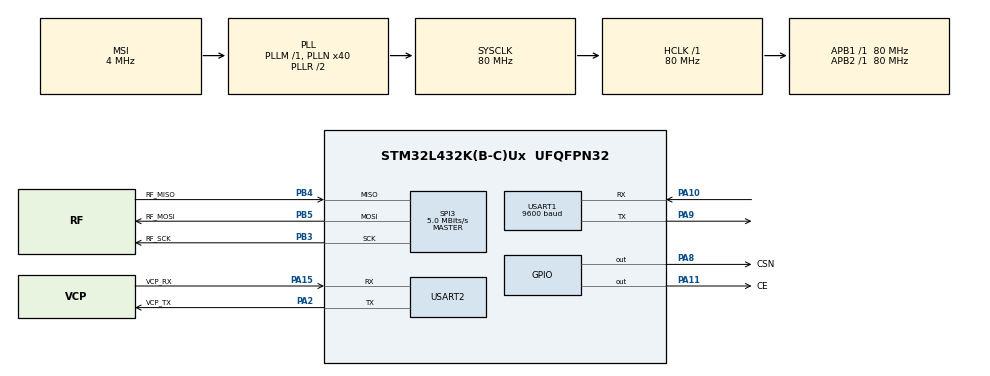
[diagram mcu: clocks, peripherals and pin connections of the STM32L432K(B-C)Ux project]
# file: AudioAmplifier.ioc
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Mcu.Family=STM32L4
Mcu.Name=STM32L432K(B-C)Ux
Mcu.Package=UFQFPN32
NVIC.PriorityGroup=NVIC_PRIORITYGROUP_4
PA0.GPIO_Label=MCO [High speed clock in]
PA0.Mode=HSE-External-Clock-Source-for-LittleOrca
PA0.Signal=RCC_CK_IN
PA10.Mode=Asynchronous
PA10.Signal=USART1_RX
PA11.GPIO_Label=CE
PA11.Signal=GPIO_Output
PA13\ (JTMS-SWDIO).GPIO_Label=SWDIO
PA13\ (JTMS-SWDIO).Mode=Serial_Wire
PA13\ (JTMS-SWDIO).Signal=SYS_JTMS-SWDIO
PA14\ (JTCK-SWCLK).GPIO_Label=SWCLK
PA14\ (JTCK-SWCLK).Mode=Serial_Wire
PA14\ (JTCK-SWCLK).Signal=SYS_JTCK-SWCLK
PA15\ (JTDI).GPIO_Label=VCP_RX
PA15\ (JTDI).Mode=Asynchronous
PA15\ (JTDI).Signal=USART2_RX
PA2.GPIO_Label=VCP_TX
PA2.Mode=Asynchronous
PA2.Signal=USART2_TX
PA8.GPIO_Label=CSN
PA8.Signal=GPIO_Output
PA9.Mode=Asynchronous
PA9.Signal=USART1_TX
PB3\ (JTDO-TRACESWO).GPIO_Label=RF_SCK
PB3\ (JTDO-TRACESWO).Mode=Full_Duplex_Master
PB3\ (JTDO-TRACESWO).Signal=SPI3_SCK
PB4\ (NJTRST).GPIO_Label=RF_MISO
PB4\ (NJTRST).Mode=Full_Duplex_Master
PB4\ (NJTRST).Signal=SPI3_MISO
PB5.GPIO_Label=RF_MOSI
PB5.Mode=Full_Duplex_Master
PB5.Signal=SPI3_MOSI
PC14-OSC32_IN\ (PC14).Mode=LSE-External-Oscillator
PC14-OSC32_IN\ (PC14).Signal=RCC_OSC32_IN
PC15-OSC32_OUT\ (PC15).Mode=LSE-External-Oscillator
PC15-OSC32_OUT\ (PC15).Signal=RCC_OSC32_OUT
ProjectManager.HeapSize=0x200
ProjectManager.StackSize=0x400
ProjectManager.TargetToolchain=STM32CubeIDE
RCC.AHBFreq_Value=80000000
RCC.APB1Freq_Value=80000000
RCC.APB1TimFreq_Value=80000000
RCC.APB2Freq_Value=80000000
RCC.APB2TimFreq_Value=80000000
RCC.CortexFreq_Value=80000000
RCC.HCLKFreq_Value=80000000
RCC.HSE_VALUE=8000000
RCC.HSI16_VALUE=16000000
RCC.HSI48_VALUE=48000000
RCC.HSI_VALUE=16000000
RCC.MSI_VALUE=4000000
RCC.PLLMUL=RCC_PLLMUL_4
RCC.PLLN=40
RCC.SYSCLKFreq_VALUE=80000000
RCC.SYSCLKSource=RCC_SYSCLKSOURCE_PLLCLK
RCC.VCOOutputFreq_Value=160000000
SPI3.BaudRatePrescaler=SPI_BAUDRATEPRESCALER_16
SPI3.CalculateBaudRate=5.0 MBits/s
SPI3.DataSize=SPI_DATASIZE_8BIT
SPI3.Direction=SPI_DIRECTION_2LINES
SPI3.Mode=SPI_MODE_MASTER
SPI3.NSSPMode=SPI_NSS_PULSE_DISABLE
SPI3.VirtualType=VM_MASTER
USART1.BaudRate=9600
USART1.VirtualMode-Asynchronous=VM_ASYNC
USART2.VirtualMode-Asynchronous=VM_ASYNC
board=NUCLEO-L432KC

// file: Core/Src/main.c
/* USER CODE BEGIN Header */
/**
  ******************************************************************************
  * @file           : main.c
  * @brief          : Main program body
  ******************************************************************************
  * @attention
  *
  * Copyright (c) 2024 STMicroelectronics.
  * All rights reserved.
  *
  * This software is licensed under terms that can be found in the LICENSE file
  * in the root directory of this software component.
  * If no LICENSE file comes with this software, it is provided AS-IS.
  *
  ******************************************************************************
  */
/* USER CODE END Header */
#include "main.h"
#include "spi.h"
#include "usart.h"
#include "gpio.h"

/* USER CODE BEGIN Includes */
#include "nrf24.h"

#include "stdio.h"
#include "string.h"
/* USER CODE END Includes */

/* USER CODE BEGIN PV */
uint8_t rx_buffer[20]={0};
uint8_t tx_buffer[20]={0};

uint8_t radioInitSuccess = 0;

uint8_t bufRX[32] = {0}; // buffer for received data
uint8_t bufLenRX = 32; // variable to store a length of received payload
uint8_t pipeRX;

char UARTbuf[256];
uint8_t UARTbufLen = 5;

uint8_t txBuf[32] = {0}; // demo
uint8_t txSuccess = 10;

uint32_t c = 0;

union
{
	float f_val;
	uint8_t f_val_buffer[4];
}temp_buffer,press_buffer,dht_temp_buffer,dht_hum_buffer;

uint16_t ldr_voltage=0,raindrops_voltage=0;
/* USER CODE END PV */

void SystemClock_Config(void);
/* USER CODE BEGIN PFP */
void testRadio(void);
/* USER CODE END PFP */

/* USER CODE BEGIN 0 */
void radioSetup(void);
void receiveData(void);
/* USER CODE END 0 */

int main(void)
{

  /* MCU Configuration--------------------------------------------------------*/

  /* Reset of all peripherals, Initializes the Flash interface and the Systick. */
  HAL_Init();

  /* Configure the system clock */
  SystemClock_Config();

  /* Initialize all configured peripherals */
  MX_GPIO_Init();
  MX_USART2_UART_Init();
  MX_SPI3_Init();
  MX_USART1_UART_Init();
  /* USER CODE BEGIN 2 */
  nRF24_CE_L();
  radioInitSuccess = nRF24_Check();

  radioSetup();

  /* USER CODE END 2 */

  /* Infinite loop */
  /* USER CODE BEGIN WHILE */
  while (1)
  {
	  receiveData(); // also sends data via UART
	  //testRadio();

	  /*
	  UARTbuf[0] = '\0';
	  for(int i = 0; i < 32; i++) sprintf(UARTbuf + strlen(UARTbuf), "%u ", bufRX[i]); // Add all values of bufRX into a buffer to send data, eparated by whitespace
	  UARTbuf[255] =  '\r';

   	  HAL_UART_Transmit(&huart2, (uint8_t *)UARTbuf, 255, 100);
   	  */

	  HAL_UART_Receive(&huart1,rx_buffer,20,100);

	  HAL_UART_Transmit(&huart2,tx_buffer,20,100);

   	  HAL_Delay(1);

    /* USER CODE END WHILE */

  }
}

void SystemClock_Config(void)
{
  RCC_OscInitTypeDef RCC_OscInitStruct = {0};
  RCC_ClkInitTypeDef RCC_ClkInitStruct = {0};

  /** Configure the main internal regulator output voltage
  */
  if (HAL_PWREx_ControlVoltageScaling(PWR_REGULATOR_VOLTAGE_SCALE1) != HAL_OK)
  {
    Error_Handler();
  }

  /** Configure LSE Drive Capability
  */
  HAL_PWR_EnableBkUpAccess();
  __HAL_RCC_LSEDRIVE_CONFIG(RCC_LSEDRIVE_LOW);

  /** Initializes the RCC Oscillators according to the specified parameters
  * in the RCC_OscInitTypeDef structure.
  */
  RCC_OscInitStruct.OscillatorType = RCC_OSCILLATORTYPE_LSE|RCC_OSCILLATORTYPE_MSI;
  RCC_OscInitStruct.LSEState = RCC_LSE_ON;
  RCC_OscInitStruct.MSIState = RCC_MSI_ON;
  RCC_OscInitStruct.MSICalibrationValue = 0;
  RCC_OscInitStruct.MSIClockRange = RCC_MSIRANGE_6;
  RCC_OscInitStruct.PLL.PLLState = RCC_PLL_ON;
  RCC_OscInitStruct.PLL.PLLSource = RCC_PLLSOURCE_MSI;
  RCC_OscInitStruct.PLL.PLLM = 1;
  RCC_OscInitStruct.PLL.PLLN = 40;
  RCC_OscInitStruct.PLL.PLLP = RCC_PLLP_DIV7;
  RCC_OscInitStruct.PLL.PLLQ = RCC_PLLQ_DIV2;
  RCC_OscInitStruct.PLL.PLLR = RCC_PLLR_DIV2;
  if (HAL_RCC_OscConfig(&RCC_OscInitStruct) != HAL_OK)
  {
    Error_Handler();
  }

  /** Initializes the CPU, AHB and APB buses clocks
  */
  RCC_ClkInitStruct.ClockType = RCC_CLOCKTYPE_HCLK|RCC_CLOCKTYPE_SYSCLK
                              |RCC_CLOCKTYPE_PCLK1|RCC_CLOCKTYPE_PCLK2;
  RCC_ClkInitStruct.SYSCLKSource = RCC_SYSCLKSOURCE_PLLCLK;
  RCC_ClkInitStruct.AHBCLKDivider = RCC_SYSCLK_DIV1;
  RCC_ClkInitStruct.APB1CLKDivider = RCC_HCLK_DIV1;
  RCC_ClkInitStruct.APB2CLKDivider = RCC_HCLK_DIV1;

  if (HAL_RCC_ClockConfig(&RCC_ClkInitStruct, FLASH_LATENCY_4) != HAL_OK)
  {
    Error_Handler();
  }

  /** Enable MSI Auto calibration
  */
  HAL_RCCEx_EnableMSIPLLMode();
}

/* USER CODE BEGIN 4 */
void radioSetup(void){
	// Set RF channel
	nRF24_DisableAA(0xFF);

	    // Set RF channel
	    nRF24_SetRFChannel(115);

	    // Set data rate
	    nRF24_SetDataRate(nRF24_DR_250kbps);

	    // Set CRC scheme
	    nRF24_SetCRCScheme(nRF24_CRC_2byte);

	    // Set address width, its common for all pipes (RX and TX)
	    nRF24_SetAddrWidth(3);

	    // Configure RX PIPE#0
	    static const uint8_t nRF24_ADDR0[] = { 'W', 'B', 'C' };
	    nRF24_SetAddr(nRF24_PIPE0, nRF24_ADDR0); // program address for RX pipe #0
	    nRF24_SetRXPipe(nRF24_PIPE0, nRF24_AA_OFF, 11); // Auto-ACK: disabled, payload length: 11 bytes

	    // Configure RX PIPE#1
	    static const uint8_t nRF24_ADDR1[] = { 0xE7, 0x1C, 0xE3 };
	    nRF24_SetAddr(nRF24_PIPE1, nRF24_ADDR1); // program address for RX pipe #1
	    nRF24_SetRXPipe(nRF24_PIPE1, nRF24_AA_OFF, 5); // Auto-ACK: disabled, payload length: 5 bytes

	    // Configure RX PIPE#4
	    static const uint8_t nRF24_ADDR4[] = { 0xE6 };
	    nRF24_SetAddr(nRF24_PIPE4, nRF24_ADDR4); // program address for RX pipe #4
	    nRF24_SetRXPipe(nRF24_PIPE4, nRF24_AA_OFF, 32); // Auto-ACK: disabled, payload length: 32 bytes

	    // Set operational mode (PRX == receiver)
	    nRF24_SetOperationalMode(nRF24_MODE_RX);

	    // Wake the transceiver
	    nRF24_SetPowerMode(nRF24_PWR_UP);

	    // Put the transceiver to the RX mode
	    nRF24_CE_H();
}

void receiveData(void){
	if (!radioInitSuccess) return;

	if (nRF24_GetStatus_RXFIFO() != nRF24_STATUS_RXFIFO_EMPTY) {

		c++;
		pipeRX = nRF24_ReadPayload(bufRX, &bufLenRX); // read a payload to buffer

		nRF24_ClearIRQFlags(); // clear any pending IRQ bits

		// now the buffer bufRX holds received data
		// bufLenRX variable holds a length of received data

		/*
		 On the transmitter side
	    for(int i=0;i<4;i++)
		{
			transmit_buffer[i] = temp_buffer.f_val_buffer[i];
			transmit_buffer[i+4] = press_buffer.f_val_buffer[i];
			transmit_buffer[i+8] = dht_temp_buffer.f_val_buffer[i];
			transmit_buffer[i+12] = dht_hum_buffer.f_val_buffer[i];
		}

		transmit_buffer[16] = (uint8_t) (ldr_voltage & 0x00FF);
		transmit_buffer[17] = (uint8_t) ((ldr_voltage & 0xFF00)>>8);

		transmit_buffer[18] = (uint8_t) (raindrops_voltage & 0x00FF);
		transmit_buffer[19] = (uint8_t) ((raindrops_voltage & 0xFF00)>>8);
	   */

		for(int i = 0; i < 4; i++){
			temp_buffer.f_val_buffer[i] = bufRX[i];
			press_buffer.f_val_buffer[i] = bufRX[i+4];
			dht_temp_buffer.f_val_buffer[i] = bufRX[i+8];
			dht_hum_buffer.f_val_buffer[i] = bufRX[i+12];
		}

		ldr_voltage = (uint16_t)bufRX[16] | ((uint16_t)bufRX[17] << 8);
		raindrops_voltage = (uint16_t)bufRX[18] | ((uint16_t)bufRX[19] << 8);

		HAL_UART_Transmit(&huart2,(uint8_t *) bufRX, 20, 100);
	}
}

void testRadio(void) {
	for(int i = 0; i < 32; i++){
		txBuf[i] = i*2;
	}
	nRF24_SetOperationalMode(nRF24_MODE_TX);

	txSuccess = nRF24_TransmitPacket(txBuf, 32);

	nRF24_SetOperationalMode(nRF24_MODE_RX);
}

/* USER CODE END 4 */

void Error_Handler(void)
{
  __disable_irq();
  while (1)
  {
  }
}
